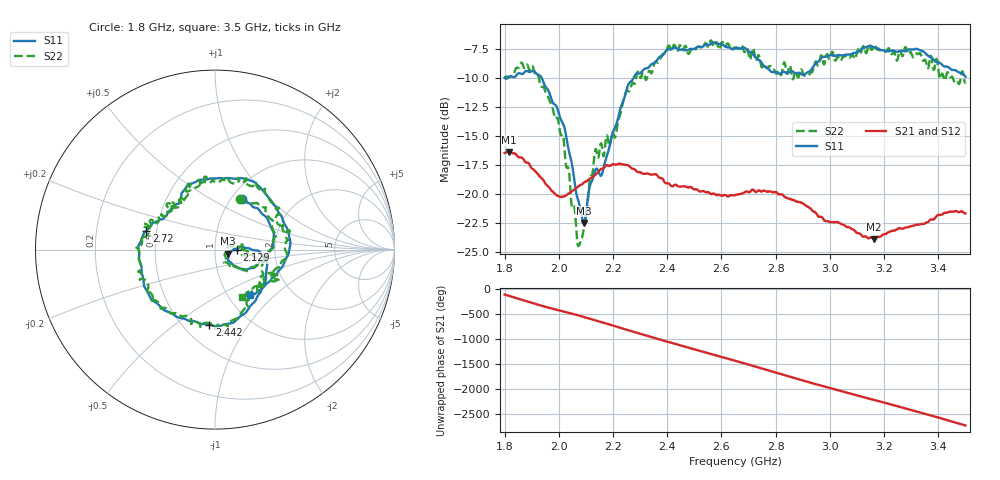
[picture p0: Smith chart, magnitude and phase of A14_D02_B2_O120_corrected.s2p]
! Created with skrf 1.9.0 (http://scikit-rf.org).
# Hz S RI R 50.0
!freq ReS11 ImS11 ReS21 ImS21 ReS12 ImS12 ReS22 ImS22
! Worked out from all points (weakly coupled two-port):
!   1601 points, 1.8 GHz to 3.5 GHz, reference 50 ohm
!   highest |S21| = -16.37 dB at 1.817 GHz (marker M1); lowest = -23.9 dB at 3.163 GHz (marker M2)
!   lowest |S11| = -22.5 dB at 2.092 GHz (marker M3), VSWR 1.16, Z = 57.6 - j2.59 ohm
!   |S11| at or under -10 dB: 1.802 GHz to 1.812 GHz (10.06 MHz wide, 0.557 % of centre); 1.937 GHz to 2.276 GHz (338.7 MHz wide, 16.1 % of centre)
!   |S22| runs from -24.5 to -6.8 dB; largest |S21 - S12| = 0.0026
!   S11 on the Smith chart (normalised r, x): 1.8 GHz: 1.12, +0.70; 2.129 GHz: 1.27, -0.00; 2.442 GHz: 0.67, -0.68; 2.72 GHz: 0.44, +0.11; 3.5 GHz: 1.26, -0.71
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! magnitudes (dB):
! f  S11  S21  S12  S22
! 1.8 GHz  -10.0  -16.5  -16.5  -10.0
! 1.817 GHz  -9.9  -16.4  -16.4  -10.0
! 1.902 GHz  -9.4  -17.8  -17.8  -9.0
! 1.966 GHz  -11.3  -19.5  -19.5  -11.9
! 2.021 GHz  -14.3  -20.2  -20.2  -16.1
! 2.07 GHz  -20.4  -19.4  -19.4  -24.4
! 2.084 GHz  -21.8  -19.2  -19.1  -23.8
! 2.092 GHz  -22.5  -19.0  -19.1  -23.0
! 2.129 GHz  -18.4  -18.4  -18.4  -17.1
! 2.161 GHz  -18.1  -17.8  -17.7  -16.3
! 2.209 GHz  -14.2  -17.5  -17.4  -15.0
! 2.259 GHz  -10.4  -17.6  -17.6  -11.2
! 2.367 GHz  -8.3  -18.5  -18.5  -8.6
! 2.442 GHz  -7.5  -19.3  -19.4  -7.5
! 2.65 GHz  -7.5  -20.1  -20.1  -7.4
! 2.72 GHz  -8.0  -19.7  -19.6  -7.7
! 2.788 GHz  -9.5  -19.8  -19.8  -9.0
! 2.934 GHz  -9.2  -21.4  -21.4  -9.5
! 3.163 GHz  -7.4  -23.9  -23.8  -7.2
! 3.217 GHz  -7.7  -23.3  -23.2  -7.4
! 3.326 GHz  -7.5  -22.6  -22.6  -7.9
! 3.5 GHz  -9.9  -21.7  -21.7  -10.4
